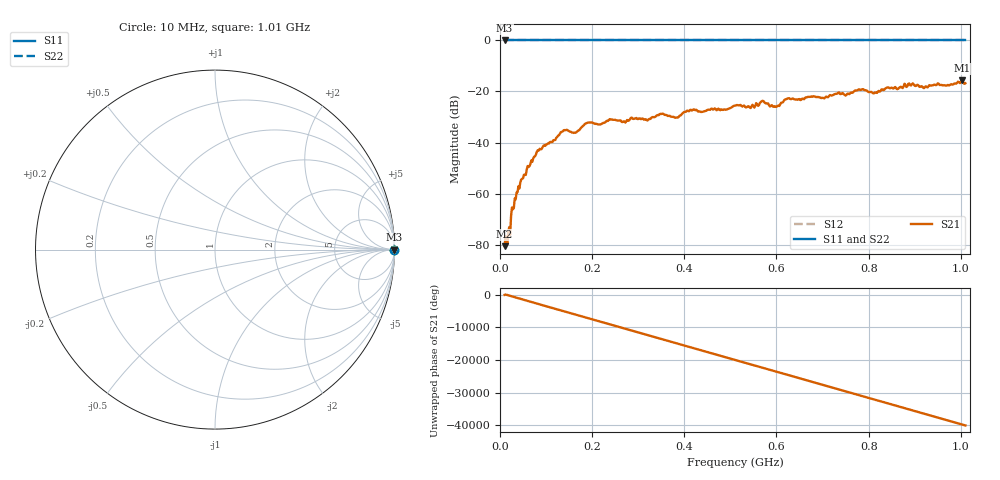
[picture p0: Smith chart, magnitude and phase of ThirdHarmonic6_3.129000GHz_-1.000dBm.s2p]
! 8/17/2025 9:18:36 AM
! C:\ANRITSUVNA\TEMP\TEMP.S2P
! CHANNEL.1
! TR.MEASUREMENT
! RAW.DATA
! RF.CORRECTION.OFF
! AVERAGING.OFF
! IF.BANDWIDTH: 5KHZ
! SWEEPTYPE:  FREQ.SWEEP(Linear)
! Reference Plane Port Info
! PORT:  PORT1  PORT2
! DISTANCE:  0  m  0  m
! TIME:  0  s  0  s
! PHASE.OFFSET:  0  deg.  0  deg.
! LOSS:  0  dB  0  dB
! REF.LOSS:  0  dB  0  dB
! REF.FREQ:  0  Hz  0  Hz
! Power Info
! POWER:  -20  dBm  -20  dBm
! EFF.POWER:  -20  dBm  -20  dBm
! SOURCE.ATTEN:  0  dB  0  dB
! TEST.ATTEN:  0  dB  0  dB
# GHZ S RI R 50.0
! FREQ.GHZ  S11RE  S11IM  S21RE  S21IM  S12RE  S12IM  S22RE  S22IM
!; PortSelection: Port_12
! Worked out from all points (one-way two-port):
!   501 points, 10 MHz to 1.01 GHz, reference 50 ohm
!   highest |S21| = -15.58 dB at 1.002 GHz (marker M1); lowest = -80.6 dB at 10 MHz (marker M2)
!   lowest |S11| = 0.0 dB at 10 MHz (marker M3)
!   |S11| at or under -10 dB: nowhere
!   |S22| runs from 0.0 to 0.0 dB; largest |S21 - S12| = 1.2
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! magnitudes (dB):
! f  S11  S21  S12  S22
! 10 MHz  0.0  -80.6  0.0  0.0
! 18 MHz  0.0  -75.0  0.0  0.0
! 28 MHz  0.0  -66.2  0.0  0.0
! 44 MHz  0.0  -55.7  0.0  0.0
! 82 MHz  0.0  -43.0  0.0  0.0
! 136 MHz  0.0  -35.7  0.0  0.0
! 162 MHz  0.0  -36.1  0.0  0.0
! 178 MHz  0.0  -33.8  0.0  0.0
! 344 MHz  0.0  -29.3  0.0  0.0
! 384 MHz  0.0  -30.2  0.0  0.0
! 416 MHz  0.0  -27.5  0.0  0.0
! 510 MHz  0.0  -25.6  0.0  0.0
! 548 MHz  0.0  -25.2  0.0  0.0
! 570 MHz  0.0  -23.6  0.0  0.0
! 596 MHz  0.0  -25.8  0.0  0.0
! 624 MHz  0.0  -22.7  0.0  0.0
! 678 MHz  0.0  -22.1  0.0  0.0
! 784 MHz  0.0  -19.4  0.0  0.0
! 814 MHz  0.0  -20.4  0.0  0.0
! 844 MHz  0.0  -18.5  0.0  0.0
! 1.002 GHz  0.0  -15.6  0.0  0.0
! 1.01 GHz  0.0  -16.8  0.0  0.0
